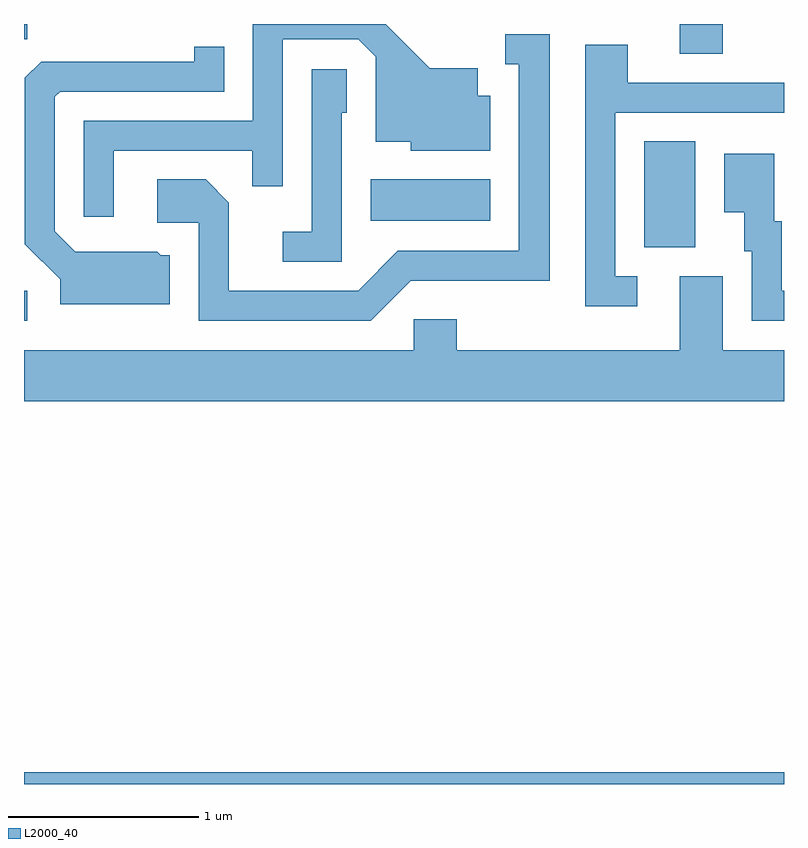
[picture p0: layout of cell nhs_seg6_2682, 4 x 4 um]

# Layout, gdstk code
import gdstk
lib = gdstk.Library(unit=1e-6, precision=1e-09)
def R(c, l, rs):  # rectangles x0, y0, x1, y1
    for r in rs: c.add(gdstk.rectangle(r[:2], r[2:], *l))
def P(c, l, *ps):  # polygons
    for p in ps: c.add(gdstk.Polygon(p, *l))
L2000_40 = (2000, 40)

nhs_seg6_2682 = lib.new_cell('nhs_seg6_2682')
R(nhs_seg6_2682, L2000_40, [(265.611,1630.162,269.611,1630.224), (265.611,1632.601,265.628,1632.759), (268.876,1632.986,269.144,1633.544), (267.436,1633.126,268.064,1633.344), (269.061,1634.006,269.289,1634.162), (265.611,1634.081,265.628,1634.162)])
P(nhs_seg6_2682, L2000_40, [(266.084,1633.496),(266.811,1633.496),(266.811,1633.308),(266.974,1633.308),(266.974,1634.081),(267.369,1634.081),(267.461,1633.989),(267.461,1633.541),(267.646,1633.541),(267.646,1633.496),(268.064,1633.496),(268.064,1633.784),(267.999,1633.784),(267.999,1633.929),(267.747,1633.929),(267.514,1634.162),(266.816,1634.162),(266.816,1633.654),(265.926,1633.654),(265.926,1633.148),(266.084,1633.148)],
  [(267.647,1632.811),(268.379,1632.811),(268.379,1634.109),(268.143,1634.109),(268.143,1633.951),(268.216,1633.951),(268.216,1632.969),(267.579,1632.969),(267.369,1632.759),(266.689,1632.759),(266.689,1633.222),(266.567,1633.344),(266.311,1633.344),(266.311,1633.116),(266.531,1633.116),(266.531,1632.601),(267.437,1632.601)],
  [(268.838,1632.834),(268.724,1632.834),(268.724,1633.696),(269.611,1633.696),(269.611,1633.854),(268.789,1633.854),(268.789,1634.054),(268.566,1634.054),(268.566,1632.676),(268.838,1632.676)],
  [(266.379,1632.944),(266.332,1632.944),(266.312,1632.964),(265.882,1632.964),(265.774,1633.072),(265.774,1633.779),(265.802,1633.806),(266.664,1633.806),(266.664,1634.043),(266.506,1634.043),(266.506,1633.964),(265.702,1633.964),(265.616,1633.879),(265.616,1633.004),(265.801,1632.819),(265.801,1632.686),(266.379,1632.686)],
  [(267.284,1633.696),(267.309,1633.696),(267.309,1633.924),(267.126,1633.924),(267.126,1633.069),(266.973,1633.069),(266.973,1632.911),(267.284,1632.911)],
  [(269.611,1632.759),(269.599,1632.759),(269.599,1633.124),(269.559,1633.124),(269.559,1633.479),(269.296,1633.479),(269.296,1633.171),(269.401,1633.171),(269.401,1632.966),(269.441,1632.966),(269.441,1632.601),(269.611,1632.601)],
  [(269.611,1632.444),(269.289,1632.444),(269.289,1632.834),(269.061,1632.834),(269.061,1632.444),(267.889,1632.444),(267.889,1632.609),(267.661,1632.609),(267.661,1632.444),(265.611,1632.444),(265.611,1632.176),(269.611,1632.176)])

lib.write_gds('nhs_seg6_2682.gds')
